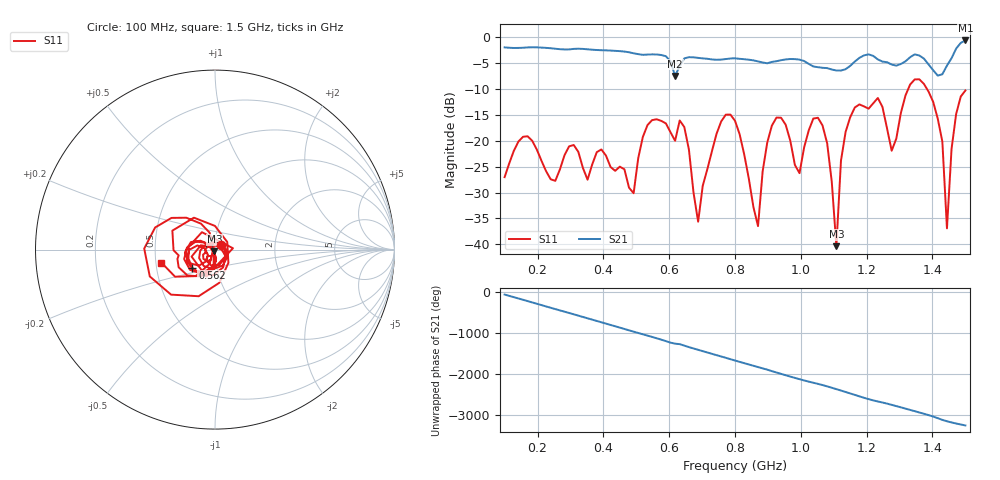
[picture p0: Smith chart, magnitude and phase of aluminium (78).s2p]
! NanoVNA-App
! Date: 2025-09-25 14:55:53
! Start: 100MHz Stop: 1,5GHz Points: 101
! S-Parameter data: F S11 S21 S12 S22
# Hz S RI R 50
!  Frequency  S11_Real  S11_Imag  S21_Real  S21_Imag  S12_Real  S12_Imag  S22_Real  S22_Imag
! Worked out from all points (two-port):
!   101 points, 100 MHz to 1.5 GHz, reference 50 ohm
!   highest |S21| = -0.58 dB at 1.5 GHz (marker M1); lowest = -7.4 dB at 618 MHz (marker M2)
!   |S21| within 3 dB of the highest: start of sweep to 587.1 MHz; 1.189 GHz to 1.22 GHz (31.69 MHz wide, 2.63 % of centre) (the widest 2 of 4)
!   lowest |S11| = -40.4 dB at 1.108 GHz (marker M3), VSWR 1.02, Z = 49.7 - j0.891 ohm
!   |S11| at or under -10 dB: start of sweep to 1.326 GHz; 1.384 GHz to end of sweep
!   S12 and S22 are empty: the file has one direction only
!   S11 on the Smith chart (normalised r, x): 100 MHz: 1.07, +0.06; 562 MHz: 0.76, -0.16; 1.5 GHz: 0.54, -0.09
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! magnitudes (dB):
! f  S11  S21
! 100 MHz  -27.0  -1.9
! 338 MHz  -25.2  -2.2
! 492 MHz  -30.1  -3.1
! 562 MHz  -15.8  -3.3
! 576 MHz  -16.1  -3.4
! 618 MHz  -20.0  -7.4
! 646 MHz  -17.3  -4.0
! 688 MHz  -35.6  -3.9
! 800 MHz  -16.1  -4.0
! 870 MHz  -36.5  -4.6
! 912 MHz  -17.0  -4.7
! 996 MHz  -26.2  -4.3
! 1.038 GHz  -15.7  -5.6
! 1.08 GHz  -20.5  -5.9
! 1.108 GHz  -40.4  -6.4
! 1.122 GHz  -23.8  -6.4
! 1.164 GHz  -13.5  -4.7
! 1.276 GHz  -21.9  -5.2
! 1.374 GHz  -9.0  -4.1
! 1.43 GHz  -20.1  -7.1
! 1.444 GHz  -36.9  -5.4
! 1.5 GHz  -10.3  -0.6
